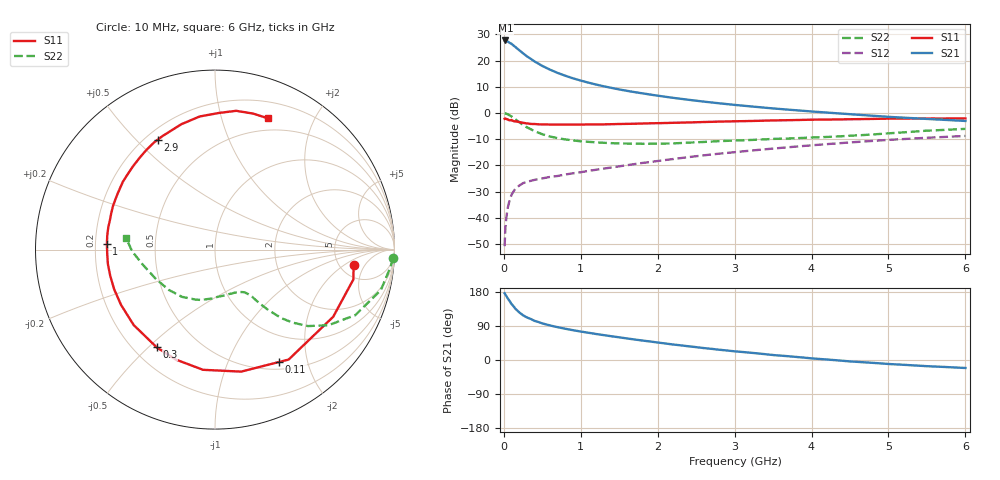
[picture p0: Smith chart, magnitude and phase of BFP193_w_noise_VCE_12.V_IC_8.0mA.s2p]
! Infineon Technologies  Discrete & RF Semiconductors
! BFP193
! VCE =  12. V,  IC =  8.0 mA
! Common Emitter S-Parameters:  Jan 2017
# GHz  S  MA  R  50
!  f  S11  S21  S12  S22
! GHz  MAG  ANG  MAG  ANG  MAG  ANG  MAG  ANG
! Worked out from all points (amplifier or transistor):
!   77 points, 10 MHz to 6 GHz, reference 50 ohm
!   highest |S21| = 27.7 dB at 20 MHz (marker M1)
!   |S21| within 3 dB of that: start of sweep to 171 MHz
!   unconditionally stable (mu >= 1): 1.249 GHz to 2.572 GHz
!   at 130 MHz: K = 0.20, MSG = 27.7 dB, |S12| = -29.7 dB
!   at 2.2 GHz: K = 1.04, MAG = 10.4 dB, |S12| = -17.5 dB
!   at 6 GHz: K = 0.84, MSG = 2.9 dB, |S12| = -8.7 dB
!   lowest NFmin = 0.85 dB at 450 MHz
!   S11 on the Smith chart (normalised r, x): 10 MHz: 6.74, -2.85; 110 MHz: 0.60, -1.56; 300 MHz: 0.29, -0.53; 1 GHz: 0.25, +0.02; 2.9 GHz: 0.25, +0.58; 6 GHz: 0.37, +1.42
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0.01  0.777 -6.2  24.01 176.2  0.0029 79.9  0.9943 -2.7
0.02  0.7886 -12.2  24.16 172.9  0.0064 88.6  0.9825 -5.7
0.05  0.7575 -29.6  23.08 162.7  0.0154 72.5  0.9515 -13.7
0.1  0.7373 -56.2  20.91 147.7  0.0277 64.6  0.8624 -25.1
0.11  0.7209 -60.3  20.29 145.5  0.0293 62.4  0.8407 -26.6
0.15  0.6953 -77.9  18.15 135.3  0.036 55.6  0.7606 -33.6
0.2  0.673 -95.7  15.76 125.8  0.0414 50.3  0.6713 -39.4
0.25  0.6503 -109.7  13.73 117.9  0.0461 45.8  0.5945 -43.2
0.3  0.6341 -120.8  12.04 112.3  0.0488 42.9  0.5341 -45.8
0.4  0.6179 -137.2  9.601 103.2  0.0532 40.6  0.4491 -48.6
0.5  0.6074 -149.5  7.902 96.6  0.0568 40.3  0.3948 -50.2
0.6  0.6037 -158.6  6.715 91.2  0.0606 40.4  0.3574 -51.2
0.7  0.6017 -165.9  5.812 86.6  0.0631 41.7  0.3313 -51.8
1  0.6031 177.2  4.152 75.1  0.0744 45.1  0.2891 -55.4
1.1  0.6054 172.6  3.793 71.9  0.079 46.2  0.2824 -57.0
1.5  0.6179 157.0  2.816 59.8  0.0964 49.2  0.2634 -66.0
2.1  0.6451 137.6  2.043 43.6  0.1273 50.0  0.2621 -83.9
2.9  0.6908 117.4  1.48 25.1  0.1736 46.9  0.2949 -108.6
3.1  0.7 113.0  1.385 21.2  0.1854 45.6  0.3021 -114.3
4.1  0.7484 94.9  1.045 2.8  0.2488 37.4  0.3454 -142.3
5.1  0.7822 79.9  0.831 -11.6  0.3134 26.6  0.4191 -170.3
6  0.7887 67.9  0.706 -21.1  0.3657 16.1  0.4991 172.8
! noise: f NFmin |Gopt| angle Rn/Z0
0.45  0.85  0.21  129  0.09
0.9  0.97  0.36  162  0.07
1.9  1.79  0.58  -148  0.12
2.4  2.19  0.64  -129  0.31
